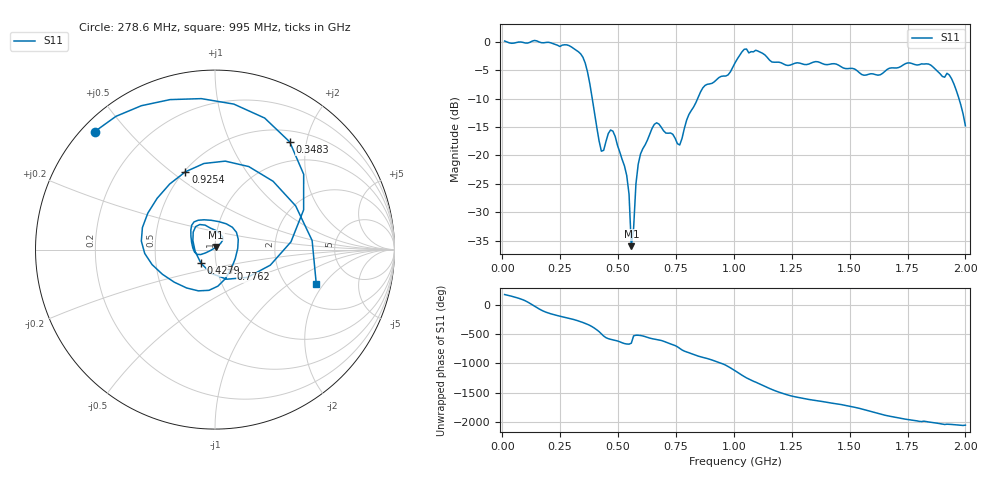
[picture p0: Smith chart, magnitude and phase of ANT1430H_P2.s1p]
!Created with skrf (http://scikit-rf.org).
# Hz S RI R 50.0
!freq ReS11 ImS11
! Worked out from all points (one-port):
!   201 points, 10 MHz to 2 GHz, reference 50 ohm
!   lowest |S11| = -36.0 dB at 557.2 MHz (marker M1), VSWR 1.03, Z = 50.7 + j1.46 ohm
!   |S11| at or under -10 dB: 388.5 MHz to 843.6 MHz (455.1 MHz wide, 73.9 % of centre); 1.972 GHz to end of sweep
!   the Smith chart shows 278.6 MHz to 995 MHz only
!   S11 on the Smith chart (normalised r, x): 278.6 MHz: 0.04, +0.41; 348.3 MHz: 0.67, +1.71; 427.9 MHz: 0.85, -0.13; 776.1 MHz: 1.17, -0.26; 925.4 MHz: 0.51, +0.56; 995 MHz: 2.86, -1.68
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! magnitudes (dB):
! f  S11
! 10 MHz  0.1
! 258.8 MHz  -0.6
! 278.6 MHz  -0.5
! 348.3 MHz  -2.7
! 368.2 MHz  -5.3
! 427.9 MHz  -19.3
! 467.7 MHz  -15.5
! 507.5 MHz  -19.4
! 547.3 MHz  -26.8
! 557.2 MHz  -36.0
! 567.2 MHz  -32.8
! 577.1 MHz  -25.0
! 587.1 MHz  -21.5
! 607 MHz  -18.8
! 666.7 MHz  -14.3
! 756.2 MHz  -17.9
! 776.1 MHz  -17.0
! 865.7 MHz  -8.1
! 925.4 MHz  -6.7
! 995 MHz  -4.5
! 1.005 GHz  -3.7
! 1.055 GHz  -1.3
! 1.254 GHz  -3.9
! 1.502 GHz  -4.7
! 1.622 GHz  -5.9
! 1.751 GHz  -3.7
! 1.93 GHz  -5.8
! 2 GHz  -14.8
